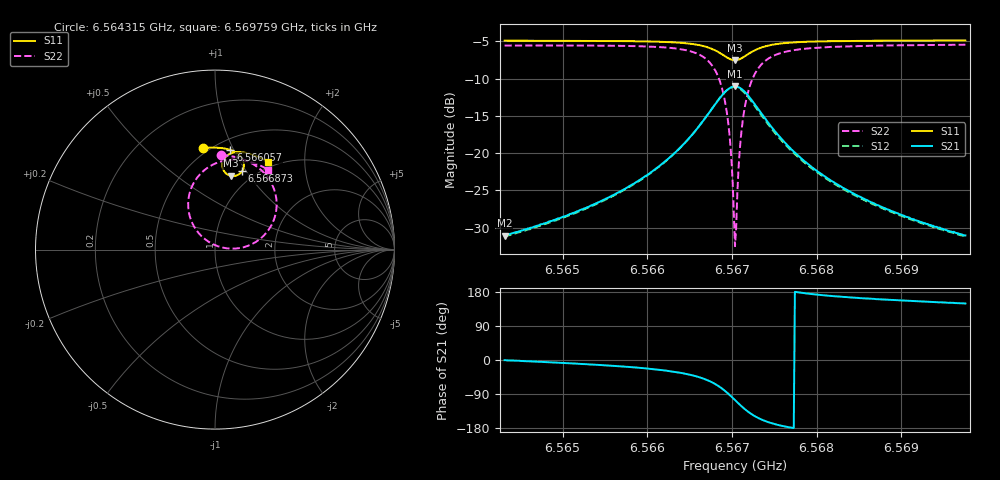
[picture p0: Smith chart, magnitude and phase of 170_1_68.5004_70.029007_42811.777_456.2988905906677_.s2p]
#  HZ  S  RI  R  50.00
! Rohde & Schwarz Vector Network Analyzer
! Rohde-Schwarz,ZNB20-2Port,1311601062101988,3.16
! Created: UTC 3/20/2024, 4:56:09 PM
! freq[Hz]  re:S11  im:S11  re:S21  im:S21  re:S12  im:S12  re:S22  im:S22
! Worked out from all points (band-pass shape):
!   401 points, 6.564315 GHz to 6.569759 GHz, reference 50 ohm
!   highest |S21| = -11.05 dB at 6.567037 GHz (marker M1); lowest = -31.1 dB at 6.564315 GHz (marker M2)
!   |S21| within 3 dB of the highest: 6.566764 GHz to 6.567309 GHz (544.4 kHz wide, 0.00829 % of centre)
!   lowest |S11| = -7.5 dB at 6.567037 GHz (marker M3), VSWR 2.45, Z = 41.1 + j41.1 ohm
!   |S11| at or under -10 dB: nowhere
!   |S22| runs from -32.5 to -5.4 dB; largest |S21 - S12| = 0.013
!   S11 on the Smith chart (normalised r, x): 6.564315 GHz: 0.46, +0.78; 6.566057 GHz: 0.60, +0.97; 6.566873 GHz: 0.86, +0.96; 6.569759 GHz: 0.91, +1.32
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6.5643149e9  -0.0657 0.5655  0.028 -0.000242  0.0276 -0.000766  0.0353 0.5268
6.5652267e9  0.00897 0.568  0.0412 -0.00761  0.0405 -0.00807  0.1217 0.5137
6.5660569e9  0.0862 0.5551  0.0688 -0.0303  0.0678 -0.0311  0.2293 0.4652
6.5661386e9  0.0949 0.5519  0.0733 -0.0355  0.0724 -0.0364  0.2433 0.4551
6.566438e9  0.1294 0.5327  0.0944 -0.0679  0.0929 -0.0692  0.3022 0.3908
6.5666557e9  0.1546 0.5016  0.1082 -0.1222  0.1057 -0.1247  0.3414 0.2857
6.5667782e9  0.1612 0.4705  0.1007 -0.1769  0.0962 -0.1803  0.3331 0.1812
6.5668735e9  0.1522 0.4391  0.0677 -0.231  0.06 -0.234  0.2738 0.0802
6.5669551e9  0.1266 0.4156  0.0068 -0.2686  -0.00422 -0.2685  0.1617 0.0138
6.5669823e9  0.1144 0.4113  -0.0198 -0.2742  -0.0316 -0.2725  0.1133 0.00576
6.5670232e9  0.0945 0.41  -0.0623 -0.2729  -0.0743 -0.268  0.0377 0.0122
6.5670368e9  0.0877 0.411  -0.0765 -0.2696  -0.088 -0.2637  0.0132 0.0197
6.5670504e9  0.0812 0.4129  -0.0902 -0.2651  -0.1012 -0.2581  -0.0104 0.0297
6.567064e9  0.0749 0.4154  -0.1032 -0.2591  -0.1139 -0.2511  -0.0326 0.0418
6.5670912e9  0.0636 0.4225  -0.127 -0.2439  -0.136 -0.2342  -0.0721 0.0719
6.567132e9  0.0506 0.4367  -0.1547 -0.2148  -0.161 -0.2036  -0.1158 0.127
6.5671865e9  0.0418 0.4583  -0.1758 -0.1717  -0.1786 -0.1603  -0.145 0.2049
6.5672545e9  0.042 0.4834  -0.1817 -0.1223  -0.1813 -0.1124  -0.1463 0.2914
6.5674995e9  0.0792 0.5313  -0.1396 -0.0276  -0.1365 -0.0234  -0.0496 0.4501
6.5679486e9  0.1421 0.543  -0.0797 0.00846  -0.0779 0.00968  0.0866 0.5003
6.5688604e9  0.2268 0.5223  -0.0387 0.0151  -0.0378 0.0153  0.2168 0.4822
6.5697586e9  0.2931 0.49  -0.024 0.0144  -0.0235 0.0145  0.2955 0.4455
